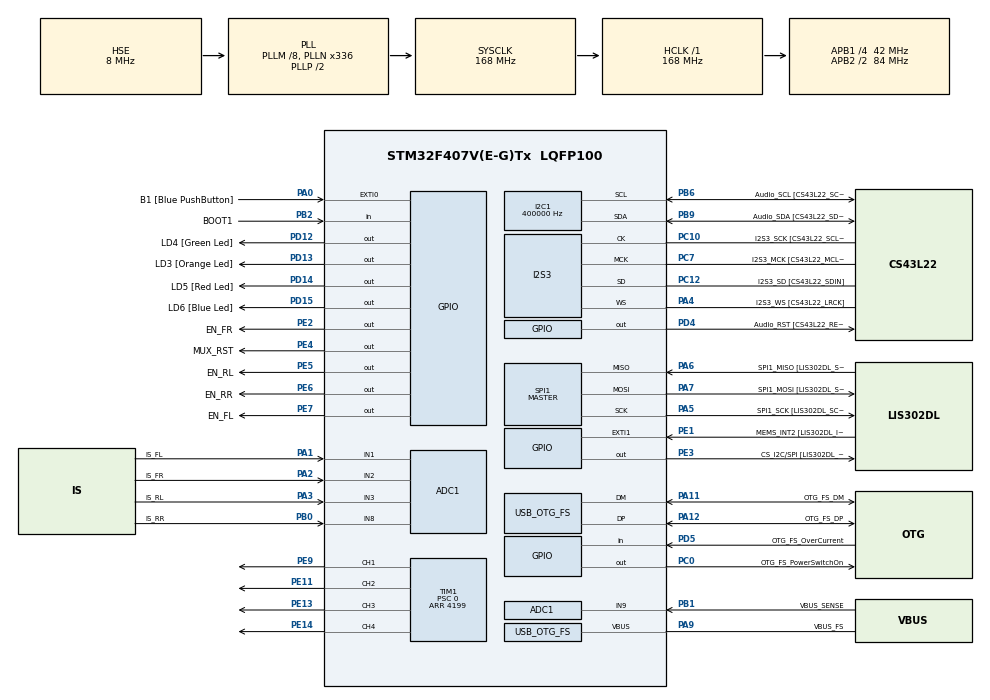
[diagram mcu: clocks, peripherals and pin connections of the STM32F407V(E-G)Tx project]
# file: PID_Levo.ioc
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ADC1.Channel-5\#ChannelRegularConversion=ADC_CHANNEL_1
ADC1.Channel-6\#ChannelRegularConversion=ADC_CHANNEL_2
ADC1.Channel-7\#ChannelRegularConversion=ADC_CHANNEL_3
ADC1.Channel-8\#ChannelRegularConversion=ADC_CHANNEL_8
ADC1.Channel-9\#ChannelRegularConversion=ADC_CHANNEL_9
ADC1.ContinuousConvMode=DISABLE
ADC1.DMAContinuousRequests=ENABLE
ADC1.ExternalTrigConv=ADC_EXTERNALTRIGCONV_T2_TRGO
ADC1.NbrOfConversion=5
ADC1.NbrOfConversionFlag=1
ADC1.Rank-5\#ChannelRegularConversion=1
ADC1.Rank-6\#ChannelRegularConversion=2
ADC1.Rank-7\#ChannelRegularConversion=3
ADC1.Rank-8\#ChannelRegularConversion=4
ADC1.Rank-9\#ChannelRegularConversion=5
ADC1.SamplingTime-5\#ChannelRegularConversion=ADC_SAMPLETIME_28CYCLES
ADC1.SamplingTime-6\#ChannelRegularConversion=ADC_SAMPLETIME_28CYCLES
ADC1.SamplingTime-7\#ChannelRegularConversion=ADC_SAMPLETIME_28CYCLES
ADC1.SamplingTime-8\#ChannelRegularConversion=ADC_SAMPLETIME_28CYCLES
ADC1.SamplingTime-9\#ChannelRegularConversion=ADC_SAMPLETIME_28CYCLES
ADC1.ScanConvMode=ENABLE
ADC1.master=1
Dma.ADC1.0.Direction=DMA_PERIPH_TO_MEMORY
Dma.ADC1.0.FIFOMode=DMA_FIFOMODE_DISABLE
Dma.ADC1.0.Instance=DMA2_Stream0
Dma.ADC1.0.MemDataAlignment=DMA_MDATAALIGN_HALFWORD
Dma.ADC1.0.MemInc=DMA_MINC_ENABLE
Dma.ADC1.0.Mode=DMA_CIRCULAR
Dma.ADC1.0.PeriphDataAlignment=DMA_PDATAALIGN_HALFWORD
Dma.ADC1.0.PeriphInc=DMA_PINC_DISABLE
Dma.ADC1.0.Priority=DMA_PRIORITY_HIGH
Dma.Request0=ADC1
I2C1.ClockSpeed=400000
I2S3.AudioFreq-Half_Duplex_Master=I2S_AUDIOFREQ_96K
I2S3.ErrorAudioFreq=-2.34 %
I2S3.ErrorAudioFreq-Half_Duplex_Master=0.8 %
I2S3.FullDuplexMode=I2S_FULLDUPLEXMODE_DISABLE
I2S3.Instance=SPI$Index
I2S3.RealAudioFreq=93.75 KHz
I2S3.RealAudioFreq-Half_Duplex_Master=96.774 KHz
I2S3.VirtualMode=I2S_MODE_MASTER
Mcu.Family=STM32F4
Mcu.Name=STM32F407V(E-G)Tx
Mcu.Package=LQFP100
NVIC.DMA2_Stream0_IRQn=true\:0\:0\:false\:false\:true\:false\:false\:true
NVIC.OTG_FS_IRQn=true\:0\:0\:false\:false\:true\:true\:true\:true
NVIC.PriorityGroup=NVIC_PRIORITYGROUP_0
PA0-WKUP.GPIO_Label=B1 [Blue PushButton]
PA0-WKUP.GPIO_ModeDefaultEXTI=GPIO_MODE_EVT_RISING
PA0-WKUP.GPIO_PuPd=GPIO_NOPULL
PA0-WKUP.Signal=GPXTI0
PA1.GPIO_Label=IS_FL
PA1.Signal=ADCx_IN1
PA10.GPIO_Label=OTG_FS_ID
PA10.GPIO_Mode=GPIO_MODE_AF_PP
PA10.GPIO_PuPd=GPIO_NOPULL
PA10.GPIO_Speed=GPIO_SPEED_FREQ_LOW
PA10.Signal=USB_OTG_FS_ID
PA11.GPIO_Label=OTG_FS_DM
PA11.GPIO_Mode=GPIO_MODE_AF_PP
PA11.GPIO_PuPd=GPIO_NOPULL
PA11.GPIO_Speed=GPIO_SPEED_FREQ_LOW
PA11.Mode=Host_Only
PA11.Signal=USB_OTG_FS_DM
PA12.GPIO_Label=OTG_FS_DP
PA12.GPIO_Mode=GPIO_MODE_AF_PP
PA12.GPIO_PuPd=GPIO_NOPULL
PA12.GPIO_Speed=GPIO_SPEED_FREQ_LOW
PA12.Mode=Host_Only
PA12.Signal=USB_OTG_FS_DP
PA13.GPIO_Label=SWDIO
PA13.Mode=Serial_Wire
PA13.Signal=SYS_JTMS-SWDIO
PA14.GPIO_Label=SWCLK
PA14.Mode=Serial_Wire
PA14.Signal=SYS_JTCK-SWCLK
PA2.GPIO_Label=IS_FR
PA2.Signal=ADCx_IN2
PA3.GPIO_Label=IS_RL
PA3.Signal=ADCx_IN3
PA4.GPIO_Label=I2S3_WS [CS43L22_LRCK]
PA4.GPIO_Mode=GPIO_MODE_AF_PP
PA4.GPIO_PuPd=GPIO_NOPULL
PA4.GPIO_Speed=GPIO_SPEED_FREQ_LOW
PA4.Mode=Half_Duplex_Master
PA4.Signal=I2S3_WS
PA5.GPIO_Label=SPI1_SCK [LIS302DL_SCL/SPC]
PA5.GPIO_Mode=GPIO_MODE_AF_PP
PA5.GPIO_PuPd=GPIO_NOPULL
PA5.GPIO_Speed=GPIO_SPEED_FREQ_LOW
PA5.Mode=Full_Duplex_Master
PA5.Signal=SPI1_SCK
PA6.GPIO_Label=SPI1_MISO [LIS302DL_SDO]
PA6.GPIO_Mode=GPIO_MODE_AF_PP
PA6.GPIO_PuPd=GPIO_NOPULL
PA6.GPIO_Speed=GPIO_SPEED_FREQ_LOW
PA6.Mode=Full_Duplex_Master
PA6.Signal=SPI1_MISO
PA7.GPIO_Label=SPI1_MOSI [LIS302DL_SDA/SDI/SDO]
PA7.GPIO_Mode=GPIO_MODE_AF_PP
PA7.GPIO_PuPd=GPIO_NOPULL
PA7.GPIO_Speed=GPIO_SPEED_FREQ_LOW
PA7.Mode=Full_Duplex_Master
PA7.Signal=SPI1_MOSI
PA9.GPIO_Label=VBUS_FS
PA9.GPIO_Mode=GPIO_MODE_INPUT
PA9.GPIO_PuPd=GPIO_NOPULL
PA9.Mode=Activate_VBUS
PA9.Signal=USB_OTG_FS_VBUS
PB0.GPIO_Label=IS_RR
PB0.Signal=ADCx_IN8
PB1.GPIO_Label=VBUS_SENSE
PB1.Signal=ADCx_IN9
PB10.GPIO_Label=CLK_IN [MP45DT02_CLK]
PB10.GPIO_Mode=GPIO_MODE_AF_PP
PB10.GPIO_PuPd=GPIO_NOPULL
PB10.GPIO_Speed=GPIO_SPEED_FREQ_LOW
PB10.Signal=I2S2_CK
PB2.GPIO_Label=BOOT1
PB2.GPIO_Mode=GPIO_MODE_INPUT
PB2.GPIO_PuPd=GPIO_NOPULL
PB2.Signal=GPIO_Input
PB3.GPIO_Label=SWO
PB3.Signal=SYS_JTDO-SWO
PB6.GPIO_Label=Audio_SCL [CS43L22_SCL]
PB6.GPIO_Mode=GPIO_MODE_AF_OD
PB6.GPIO_Pu=GPIO_PULLUP
PB6.GPIO_PuPd=GPIO_NOPULL
PB6.GPIO_Speed=GPIO_SPEED_FREQ_LOW
PB6.Mode=I2C
PB6.Signal=I2C1_SCL
PB9.GPIO_Label=Audio_SDA [CS43L22_SDA]
PB9.GPIO_Mode=GPIO_MODE_AF_OD
PB9.GPIO_Pu=GPIO_PULLUP
PB9.GPIO_PuPd=GPIO_NOPULL
PB9.GPIO_Speed=GPIO_SPEED_FREQ_LOW
PB9.Mode=I2C
PB9.Signal=I2C1_SDA
PC0.GPIO_Label=OTG_FS_PowerSwitchOn
PC0.GPIO_PuPd=GPIO_NOPULL
PC0.GPIO_Speed=GPIO_SPEED_FREQ_LOW
PC0.PinState=GPIO_PIN_SET
PC0.Signal=GPIO_Output
PC10.GPIO_Label=I2S3_SCK [CS43L22_SCLK]
PC10.GPIO_Mode=GPIO_MODE_AF_PP
PC10.GPIO_PuPd=GPIO_NOPULL
PC10.GPIO_Speed=GPIO_SPEED_FREQ_LOW
PC10.Mode=Half_Duplex_Master
PC10.Signal=I2S3_CK
PC12.GPIO_Label=I2S3_SD [CS43L22_SDIN]
PC12.GPIO_Mode=GPIO_MODE_AF_PP
PC12.GPIO_PuPd=GPIO_NOPULL
PC12.GPIO_Speed=GPIO_SPEED_FREQ_LOW
PC12.Mode=Half_Duplex_Master
PC12.Signal=I2S3_SD
PC14-OSC32_IN.GPIO_Label=PC14-OSC32_IN
PC14-OSC32_IN.Mode=LSE-External-Oscillator
PC14-OSC32_IN.Signal=RCC_OSC32_IN
PC15-OSC32_OUT.GPIO_Label=PC15-OSC32_OUT
PC15-OSC32_OUT.Mode=LSE-External-Oscillator
PC15-OSC32_OUT.Signal=RCC_OSC32_OUT
PC3.GPIO_Label=PDM_OUT [MP45DT02_DOUT]
PC3.GPIO_Mode=GPIO_MODE_AF_PP
PC3.GPIO_PuPd=GPIO_NOPULL
PC3.GPIO_Speed=GPIO_SPEED_FREQ_LOW
PC3.Signal=I2S2_SD
PC7.GPIO_Label=I2S3_MCK [CS43L22_MCLK]
PC7.GPIO_Mode=GPIO_MODE_AF_PP
PC7.GPIO_PuPd=GPIO_NOPULL
PC7.GPIO_Speed=GPIO_SPEED_FREQ_LOW
PC7.Mode=Master_Clock_Activated
PC7.Signal=I2S3_MCK
PD12.GPIO_Label=LD4 [Green Led]
PD12.GPIO_PuPd=GPIO_NOPULL
PD12.GPIO_Speed=GPIO_SPEED_FREQ_LOW
PD12.Signal=GPIO_Output
PD13.GPIO_Label=LD3 [Orange Led]
PD13.GPIO_PuPd=GPIO_NOPULL
PD13.GPIO_Speed=GPIO_SPEED_FREQ_LOW
PD13.Signal=GPIO_Output
PD14.GPIO_Label=LD5 [Red Led]
PD14.GPIO_PuPd=GPIO_NOPULL
PD14.GPIO_Speed=GPIO_SPEED_FREQ_LOW
PD14.Signal=GPIO_Output
PD15.GPIO_Label=LD6 [Blue Led]
PD15.GPIO_PuPd=GPIO_NOPULL
PD15.GPIO_Speed=GPIO_SPEED_FREQ_LOW
PD15.Signal=GPIO_Output
PD4.GPIO_Label=Audio_RST [CS43L22_RESET]
PD4.GPIO_PuPd=GPIO_NOPULL
PD4.GPIO_Speed=GPIO_SPEED_FREQ_LOW
PD4.Signal=GPIO_Output
PD5.GPIO_Label=OTG_FS_OverCurrent
PD5.GPIO_Mode=GPIO_MODE_INPUT
PD5.GPIO_PuPd=GPIO_NOPULL
PD5.Signal=GPIO_Input
PE1.GPIO_Label=MEMS_INT2 [LIS302DL_INT2]
PE1.GPIO_ModeDefaultEXTI=GPIO_MODE_EVT_RISING
PE1.GPIO_PuPd=GPIO_NOPULL
PE1.Signal=GPXTI1
PE11.Signal=S_TIM1_CH2
PE13.Signal=S_TIM1_CH3
PE14.Signal=S_TIM1_CH4
PE2.GPIO_Label=EN_FR
PE2.GPIO_PuPd=GPIO_PULLDOWN
PE2.GPIO_Speed=GPIO_SPEED_FREQ_LOW
PE2.PinState=GPIO_PIN_RESET
PE2.Signal=GPIO_Output
PE3.GPIO_Label=CS_I2C/SPI [LIS302DL_CS_I2C/SPI]
PE3.GPIO_PuPd=GPIO_NOPULL
PE3.GPIO_Speed=GPIO_SPEED_FREQ_LOW
PE3.Signal=GPIO_Output
PE4.GPIO_Label=MUX_RST
PE4.GPIO_PuPd=GPIO_NOPULL
PE4.GPIO_Speed=GPIO_SPEED_FREQ_LOW
PE4.PinState=GPIO_PIN_SET
PE4.Signal=GPIO_Output
PE5.GPIO_Label=EN_RL
PE5.GPIO_PuPd=GPIO_PULLDOWN
PE5.GPIO_Speed=GPIO_SPEED_FREQ_LOW
PE5.PinState=GPIO_PIN_RESET
PE5.Signal=GPIO_Output
PE6.GPIO_Label=EN_RR
PE6.GPIO_PuPd=GPIO_PULLDOWN
PE6.GPIO_Speed=GPIO_SPEED_FREQ_LOW
PE6.PinState=GPIO_PIN_RESET
PE6.Signal=GPIO_Output
PE7.GPIO_Label=EN_FL
PE7.GPIO_PuPd=GPIO_PULLDOWN
PE7.GPIO_Speed=GPIO_SPEED_FREQ_LOW
PE7.PinState=GPIO_PIN_RESET
PE7.Signal=GPIO_Output
PE9.Signal=S_TIM1_CH1
PH0-OSC_IN.GPIO_Label=PH0-OSC_IN
PH0-OSC_IN.Mode=HSE-External-Oscillator
PH0-OSC_IN.Signal=RCC_OSC_IN
PH1-OSC_OUT.GPIO_Label=PH1-OSC_OUT
PH1-OSC_OUT.Mode=HSE-External-Oscillator
PH1-OSC_OUT.Signal=RCC_OSC_OUT
ProjectManager.HeapSize=0x200
ProjectManager.StackSize=0x400
ProjectManager.TargetToolchain=STM32CubeIDE
RCC.48MHZClocksFreq_Value=48000000
RCC.AHBFreq_Value=168000000
RCC.APB1CLKDivider=RCC_HCLK_DIV4
RCC.APB1Freq_Value=42000000
RCC.APB1TimFreq_Value=84000000
RCC.APB2CLKDivider=RCC_HCLK_DIV2
RCC.APB2Freq_Value=84000000
RCC.APB2TimFreq_Value=168000000
RCC.CortexFreq_Value=168000000
RCC.HCLKFreq_Value=168000000
RCC.HSE_VALUE=8000000
RCC.HSI_VALUE=16000000
RCC.PLLM=8
RCC.PLLN=336
RCC.PLLQ=7
RCC.SYSCLKFreq_VALUE=168000000
RCC.SYSCLKSource=RCC_SYSCLKSOURCE_PLLCLK
RCC.VCOOutputFreq_Value=336000000
SH.ADCx_IN1.0=ADC1_IN1,IN1
SH.ADCx_IN2.0=ADC1_IN2,IN2
SH.ADCx_IN3.0=ADC1_IN3,IN3
SH.ADCx_IN8.0=ADC1_IN8,IN8
SH.ADCx_IN9.0=ADC1_IN9,IN9
SH.S_TIM1_CH1.0=TIM1_CH1,PWM Generation1 CH1
SH.S_TIM1_CH2.0=TIM1_CH2,PWM Generation2 CH2
SH.S_TIM1_CH3.0=TIM1_CH3,PWM Generation3 CH3
SH.S_TIM1_CH4.0=TIM1_CH4,PWM Generation4 CH4
SPI1.BaudRatePrescaler-Full_Duplex_Master=SPI_BAUDRATEPRESCALER_2
SPI1.CalculateBaudRate-Full_Duplex_Master=42.0 MBits/s
SPI1.Direction=SPI_DIRECTION_2LINES
SPI1.Mode=SPI_MODE_MASTER
SPI1.Mode-Full_Duplex_Master=SPI_MODE_MASTER
SPI1.VirtualType=VM_MASTER
TIM1.AutoReloadPreload=TIM_AUTORELOAD_PRELOAD_ENABLE
TIM1.Channel-PWM\ Generation1\ CH1=TIM_CHANNEL_1
TIM1.Channel-PWM\ Generation2\ CH2=TIM_CHANNEL_2
TIM1.Channel-PWM\ Generation3\ CH3=TIM_CHANNEL_3
TIM1.Channel-PWM\ Generation4\ CH4=TIM_CHANNEL_4
TIM1.CounterMode=TIM_COUNTERMODE_CENTERALIGNED1
TIM1.Period=4199
TIM1.Prescaler=0
TIM1.TIM_MasterOutputTrigger=TIM_TRGO_UPDATE
TIM2.Period=2099
TIM2.TIM_MasterOutputTrigger=TIM_TRGO_UPDATE
USB_HOST.BSP.number=1
USB_HOST.USBH_HandleTypeDef-CDC_FS=hUsbHostFS
USB_HOST.VirtualModeFS=Cdc
USB_HOST0.BSP.STBoard=false
USB_HOST0.BSP.api=Unknown
USB_HOST0.BSP.instance=PC0
USB_HOST0.BSP.ip=GPIO
USB_HOST0.BSP.mode=Output
USB_HOST0.BSP.name=Drive_VBUS_FS
USB_HOST0.BSP.solution=PC0
USB_OTG_FS.VirtualMode=Host_Only
USB_OTG_FS.phy_itface=HCD_PHY_EMBEDDED
VP_TIM1_VS_ClockSourceINT.Mode=Internal
VP_TIM2_VS_ClockSourceINT.Mode=Internal
VP_USB_HOST_VS_USB_HOST_CDC_FS.Mode=CDC_FS
board=STM32F407G-DISC1

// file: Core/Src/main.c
/* USER CODE BEGIN Header */
/**
  ******************************************************************************
  * @file           : main.c
  * @brief          : Main program body
  ******************************************************************************
  * @attention
  *
  * Copyright (c) 2026 STMicroelectronics.
  * All rights reserved.
  *
  * This software is licensed under terms that can be found in the LICENSE file
  * in the root directory of this software component.
  * If no LICENSE file comes with this software, it is provided AS-IS.
  *
  ******************************************************************************
  */
/* USER CODE END Header */
#include "main.h"
#include "usb_host.h"

/* USER CODE BEGIN Includes */
#include "app_config.h"
#include "i2c_bus.h"
#include "tca9548a.h"
#include "vl6180x.h"
#include "coil_test.h"
#include "bts7960.h"
#include "current_sense.h"
#include "state_machine.h"
#include "gap_sensor.h"
#include "estimator.h"
#include <math.h>
/* USER CODE END Includes */

ADC_HandleTypeDef hadc1;
DMA_HandleTypeDef hdma_adc1;

I2C_HandleTypeDef hi2c1;

I2S_HandleTypeDef hi2s3;

SPI_HandleTypeDef hspi1;

TIM_HandleTypeDef htim1;
TIM_HandleTypeDef htim2;

/* USER CODE BEGIN PV */

/* ---- Asama 3: guc katmani ve emniyet (Live Expressions icin) ---- */
volatile uint8_t  g_levitate_req = 0;   /* 1 yazilinca kalkis denenir      */
volatile uint8_t  g_sm_state     = 0;   /* sm_state_t                      */
volatile uint32_t g_sm_faults    = 0;   /* SM_F_* bit maskesi              */
volatile float    g_coil_i_a[BTS_CH_COUNT];
volatile float    g_duty[BTS_CH_COUNT];
volatile float    g_vbus_v       = 0.0f;
volatile float    g_power_w      = 0.0f;
volatile float    g_peak_i_a     = 0.0f;  /* kalkis zirvesi (sartname 3.q) */
volatile float    g_peak_p_w     = 0.0f;
volatile uint8_t  g_drv_init_err = 0;

/* ---- Asama 2: 4 kanalli hava araligi + kestirim (Live Expressions) ---- */
volatile uint8_t  g_gap_found   = 0;   /* acilista bulunan sensor sayisi   */
volatile uint8_t  g_gap_valid_n = 0;   /* su an gecerli olan kanal sayisi  */
volatile uint8_t  g_gap_present[GAP_CH_COUNT];
volatile uint8_t  g_gap_fault[GAP_CH_COUNT];
volatile uint8_t  g_gap_raw[GAP_CH_COUNT];   /* ham okuma [mm]             */
volatile float    g_gap_ch[GAP_CH_COUNT];    /* kalibre hava araligi [mm]  */
volatile uint16_t g_gap_hz[GAP_CH_COUNT];
volatile uint8_t  g_gap_status[GAP_CH_COUNT];

volatile uint8_t  g_est_valid    = 0;
volatile uint8_t  g_est_n_used   = 0;
volatile float    g_heave_mm     = 0.0f;
volatile float    g_roll_mrad    = 0.0f;   /* milirad, okunakli olsun diye */
volatile float    g_pitch_mrad   = 0.0f;
volatile float    g_est_resid_mm = 0.0f;

/* ===== Asama 1 teshis degiskenleri =====================================
   Bunlar CubeIDE'de Debug -> Live Expressions penceresine eklenerek
   canli izlenir. volatile olmalari, derleyicinin optimize edip yok
   etmesini onler.                                                      */
volatile uint8_t  g_range_mm       = 0;     /* sensorun ham olcumu [mm]      */
volatile float    g_gap_mm         = 0.0f;  /* hava araligi = ham - offset   */
volatile uint8_t  g_range_status   = 0;     /* 0 = OK, digerleri hata kodu   */
volatile uint32_t g_ok_count       = 0;     /* hatasiz ornek sayisi          */
volatile uint32_t g_i2c_err_count  = 0;     /* I2C seviyesi hata sayisi      */
volatile uint32_t g_sample_hz      = 0;     /* olculen gercek ornekleme hizi */
volatile uint8_t  g_sensor_present = 0;     /* 1 = sensor bulundu            */

/* I2C tarama sonuclari -- ilk teshis adimi:
     g_scan_root[] icinde 0x70 (coklayici) gorulmelidir.
     g_scan_ch0[]  icinde 0x29 (VL6180X)  gorulmelidir.
   0x29 yoksa sorun sensor kablolamasinda ya da beslemesindedir.        */
volatile uint8_t  g_scan_root[8];
volatile uint8_t  g_scan_root_n = 0;
volatile uint8_t  g_scan_ch0[8];
volatile uint8_t  g_scan_ch0_n  = 0;

/* Sensor durumu (sample_count, io_err_count, status_err_count alanlari
   da Live Expressions'ta izlenebilir). */
vl6180x_t g_tof0;

/* ===== Teshis: sensorun kendi registerlarindan geri okunan degerler =====
   Yazdigimiz ayarlar sensore gercekten islendi mi, ve sensor ne
   raporluyor? Surekli mod ornek uretmezse cevap burada.                 */
volatile uint8_t g_dbg_mode_gpio1 = 0xAA;  /* 0x011, beklenen 0x10 */
volatile uint8_t g_dbg_int_cfg    = 0xAA;  /* 0x014, beklenen 0x04 */
volatile uint8_t g_dbg_imp        = 0xAA;  /* 0x01B, olcumler arasi periyot */
volatile uint8_t g_dbg_maxconv    = 0xAA;  /* 0x01C, maks yakinsama suresi  */
volatile uint8_t g_dbg_avg        = 0xAA;  /* 0x10A, ortalama periyodu      */
volatile uint8_t g_dbg_start      = 0xAA;  /* 0x018, beklenen 0x03          */
volatile uint8_t g_dbg_irq_raw    = 0xAA;  /* 0x04F, ham kesme durumu       */
volatile uint8_t g_dbg_rs_raw     = 0xAA;  /* 0x04D, ham menzil durumu      */

/* Tek atimlik (blokleyici) olcum: sensor hic olcum yapabiliyor mu?
   Bu, surekli moddan bagimsiz bir kanittir. */
volatile uint8_t g_single_mm     = 0;
volatile int8_t  g_single_ret    = -1;     /* 0 = HAL_OK */
volatile uint8_t g_single_status = 0xAA;

/* ===== Ornekleme hizi taramasi =====
   Acilista ortalama periyodu (AVG) ve olcumler arasi periyot (IMP)
   kombinasyonlari denenip her biri icin 500 ms'de kac ornek geldigi
   olculur. En hizli ve hatasiz kombinasyon secilerek calisilir.       */
/* Gurultu-hiz takasi taramasi: ortalama periyodu (AVG) ve maksimum
   yakinsama suresi (CONV) kombinasyonlari icin 1 saniyede kac ornek
   geldigi ve o orneklerin dagilimi olculur. Olcumler arasi periyot
   10 ms'de sabit -- sensor zaten olcum suresiyle sinirli.            */
#define SWEEP_N 8
volatile uint8_t  g_sweep_avg[SWEEP_N];
volatile uint8_t  g_sweep_conv[SWEEP_N];
volatile uint16_t g_sweep_hz[SWEEP_N];        /* 1 s icindeki ornek = Hz */
volatile uint16_t g_sweep_err[SWEEP_N];       /* olcum hatasi sayisi     */
volatile uint8_t  g_sweep_min[SWEEP_N];
volatile uint8_t  g_sweep_max[SWEEP_N];
volatile uint8_t  g_sweep_pp[SWEEP_N];        /* tepe-tepe [mm]          */
volatile float    g_sweep_mean[SWEEP_N];
volatile float    g_sweep_std[SWEEP_N];       /* sigma [mm]              */
volatile uint8_t  g_sweep_done = 0;
volatile uint8_t  g_best_idx   = 0xFF;
volatile uint16_t g_best_hz    = 0;

/* ===== Yazilim filtresi karsilastirmasi =====
   Ayni ornek akisi uzerinde es zamanli calisan filtreler:
     0 = ham, 1 = 4-ornek ortalama, 2 = 8-ornek, 3 = 16-ornek, 4 = 5-medyan
   Her biri icin 3 saniyelik pencerede sigma ve tepe-tepe olculur. Gecikme
   bedeli: N-ornek ortalama ~ (N-1)/2 ornek = 100 Hz'de (N-1)*5 ms.        */
#define FILT_N 5
volatile float    g_filt_mean[FILT_N];
volatile float    g_filt_std[FILT_N];
volatile float    g_filt_pp[FILT_N];
volatile uint16_t g_filt_n = 0;

/* ===== Gurultu istatistigi =====
   Her 2 saniyelik pencerede hatasiz orneklerin min/maks/ortalama/standart
   sapmasi. g_stat_pp (tepe-tepe bandi), ToF'un levitasyon icin yeterli olup
   olmadigini soyleyecek kritik sayidir. */
volatile uint8_t  g_stat_min  = 0;
volatile uint8_t  g_stat_max  = 0;
volatile uint8_t  g_stat_pp   = 0;    /* tepe-tepe [mm] */
volatile float    g_stat_mean = 0.0f;
volatile float    g_stat_std  = 0.0f;
volatile uint16_t g_stat_n    = 0;    /* penceredeki ornek sayisi */

/* ===== Bobin karakterizasyon testi tetikleri =====
   Test MIKNATISI ENERJILENDIRIR, bu yuzden kazara calismaz:
     - acilista mavi butonu (B1) basili tutarak reset  -> calisir
     - ya da hata ayiklayicidan g_coil_arm = 0xA5      -> bir kez calisir
   Baska hicbir kosulda cikis surulmez.                              */
volatile uint8_t g_coil_arm      = 0;
volatile uint8_t g_coil_run_count = 0;

/* ToF hiz/gurultu taramasi artik her acilista calismiyor (10 s suruyordu);
   olculen en iyi ayar dogrudan uygulaniyor. Tekrar taramak icin
   hata ayiklayicidan g_tof_do_sweep = 1 yapip reset atin.            */
volatile uint8_t g_tof_do_sweep = 0;

/* USER CODE END PV */

void SystemClock_Config(void);
static void MX_GPIO_Init(void);
static void MX_DMA_Init(void);
static void MX_I2C1_Init(void);
static void MX_I2S3_Init(void);
static void MX_SPI1_Init(void);
static void MX_ADC1_Init(void);
static void MX_TIM1_Init(void);
static void MX_TIM2_Init(void);
void MX_USB_HOST_Process(void);

/* USER CODE BEGIN 0 */

/* ===== ToF karakterizasyon yardimcilari =====
   Bu fonksiyonlar sensorun hiz/gurultu/filtre davranisini olcmek icin
   yazildi ve sonuclari ozet.md'ye islendi. Normal calismada gerekmiyor,
   ama olcumu tekrarlamak gerekirse asagidaki satiri 1 yapmak yeterli.
   Derleme disi birakiliyor ki 'kullanilmiyor' uyarisi uretmesinler. */
#define TOF_CHARACTERIZATION  0
#if TOF_CHARACTERIZATION
/* Ortalama periyodu ve olcumler arasi periyot kombinasyonlarini deneyip
   en hizli hatasiz olani secer. Cagrilmadan once mux kanali acik olmalidir. */
static void TOF_ApplyConfig(uint8_t avg, uint8_t conv)
{
  (void)VL6180X_StopContinuous(&g_tof0);
  HAL_Delay(60);
  (void)VL6180X_WriteReg(0x010A, avg);      /* READOUT__AVERAGING_SAMPLE_PERIOD */
  (void)VL6180X_WriteReg(0x001C, conv);     /* SYSRANGE__MAX_CONVERGENCE_TIME   */
  (void)VL6180X_WriteReg(0x0015, 0x07);     /* kesmeleri temizle                */
  (void)VL6180X_StartContinuous(&g_tof0, 10);
}

/* ---- Yazilim filtresi karsilastirmasi ---- */
static uint8_t  s_rb[16];
static uint8_t  s_rb_i = 0, s_rb_cnt = 0;
static float    s_acc_sum[FILT_N], s_acc_sq[FILT_N];
static float    s_acc_min[FILT_N], s_acc_max[FILT_N];
static uint16_t s_acc_n = 0;

static float Filt_MovAvg(uint8_t n)
{
  uint32_t s = 0;
  for (uint8_t k = 0; k < n; k++)
  {
    s += s_rb[(uint8_t)((s_rb_i + 16U - 1U - k) & 0x0FU)];
  }
  return (float)s / (float)n;
}

static float Filt_Median5(void)
{
  uint8_t v[5];
  for (uint8_t k = 0; k < 5U; k++)
  {
    v[k] = s_rb[(uint8_t)((s_rb_i + 16U - 1U - k) & 0x0FU)];
  }
  for (uint8_t i = 0; i < 4U; i++)
  {
    for (uint8_t j = (uint8_t)(i + 1U); j < 5U; j++)
    {
      if (v[j] < v[i]) { uint8_t t = v[i]; v[i] = v[j]; v[j] = t; }
    }
  }
  return (float)v[2];
}

static void Filt_Push(uint8_t val)
{
  s_rb[s_rb_i] = val;
  s_rb_i = (uint8_t)((s_rb_i + 1U) & 0x0FU);
  if (s_rb_cnt < 16U) { s_rb_cnt++; return; }   /* tampon dolana kadar sayma */

  float f[FILT_N];
  f[0] = (float)val;
  f[1] = Filt_MovAvg(4);
  f[2] = Filt_MovAvg(8);
  f[3] = Filt_MovAvg(16);
  f[4] = Filt_Median5();

  for (uint8_t i = 0; i < FILT_N; i++)
  {
    if (s_acc_n == 0U) { s_acc_min[i] = f[i]; s_acc_max[i] = f[i]; }
    else
    {
      if (f[i] < s_acc_min[i]) { s_acc_min[i] = f[i]; }
      if (f[i] > s_acc_max[i]) { s_acc_max[i] = f[i]; }
    }
    s_acc_sum[i] += f[i];
    s_acc_sq[i]  += f[i] * f[i];
  }
  s_acc_n++;
}

static void Filt_Publish(void)
{
  if (s_acc_n < 2U) { return; }

  for (uint8_t i = 0; i < FILT_N; i++)
  {
    float mean = s_acc_sum[i] / (float)s_acc_n;
    float var  = (s_acc_sq[i] / (float)s_acc_n) - (mean * mean);
    if (var < 0.0f) { var = 0.0f; }

    g_filt_mean[i] = mean;
    g_filt_std[i]  = sqrtf(var);
    g_filt_pp[i]   = s_acc_max[i] - s_acc_min[i];

    s_acc_sum[i] = 0.0f;
    s_acc_sq[i]  = 0.0f;
  }
  g_filt_n = s_acc_n;
  s_acc_n  = 0;
}

/* Her kombinasyon icin 1 saniye olcum toplar; hiz ve dagilimi kaydeder. */
static void TOF_NoiseSweep(void)
{
  static const uint8_t avgs[4]  = { 0x18U, 0x30U, 0x60U, 0xA0U };
  static const uint8_t convs[2] = { 0x0AU, 0x31U };   /* 10 ms / 49 ms */
  uint8_t idx = 0;

  for (uint8_t a = 0; a < 4U; a++)
  {
    for (uint8_t c = 0; c < 2U; c++)
    {
      uint32_t t0, sum = 0, sumsq = 0;
      uint16_t cnt = 0, serr = 0;
      uint8_t  mn = 255, mx = 0;

      TOF_ApplyConfig(avgs[a], convs[c]);
      HAL_Delay(200);                        /* yerlesme */

      t0 = HAL_GetTick();
      while ((HAL_GetTick() - t0) < 1000U)
      {
        if (VL6180X_Poll(&g_tof0) == 1)
        {
          if (g_tof0.last_status != VL6180X_RS_NO_ERROR) { serr++; continue; }

          uint8_t v = g_tof0.last_range_mm;
          if (v < mn) { mn = v; }
          if (v > mx) { mx = v; }
          sum   += v;
          sumsq += (uint32_t)v * v;
          cnt++;
        }
      }

      g_sweep_avg[idx]  = avgs[a];
      g_sweep_conv[idx] = convs[c];
      g_sweep_hz[idx]   = cnt;
      g_sweep_err[idx]  = serr;

      if (cnt > 1U)
      {
        float mean = (float)sum / (float)cnt;
        float var  = ((float)sumsq / (float)cnt) - (mean * mean);
        if (var < 0.0f) { var = 0.0f; }

        g_sweep_min[idx]  = mn;
        g_sweep_max[idx]  = mx;
        g_sweep_pp[idx]   = (uint8_t)(mx - mn);
        g_sweep_mean[idx] = mean;
        g_sweep_std[idx]  = sqrtf(var);
      }
      idx++;
    }
  }
  g_sweep_done = idx;

  /* En yuksek hizi veren hatasiz kombinasyonu sec; esitlikte dusuk sigma.
     Yazilim filtresi karsilastirmasi en yuksek hizda yapilmali. */
  uint16_t best_hz  = 0;
  float    best_std = 1.0e9f;
  for (uint8_t i = 0; i < idx; i++)
  {
    if (g_sweep_err[i] != 0U) { continue; }
    if ((g_sweep_hz[i] > best_hz) ||
        ((g_sweep_hz[i] == best_hz) && (g_sweep_std[i] < best_std)))
    {
      best_hz    = g_sweep_hz[i];
      best_std   = g_sweep_std[i];
      g_best_idx = i;
    }
  }
  if (g_best_idx == 0xFFU) { g_best_idx = 1; }   /* hicbiri uymazsa varsayilan */

  g_best_hz = g_sweep_hz[g_best_idx];
  TOF_ApplyConfig(g_sweep_avg[g_best_idx], g_sweep_conv[g_best_idx]);
}

#endif /* TOF_CHARACTERIZATION */

/* USER CODE END 0 */

int main(void)
{

  /* MCU Configuration--------------------------------------------------------*/

  /* Reset of all peripherals, Initializes the Flash interface and the Systick. */
  HAL_Init();

  /* Configure the system clock */
  SystemClock_Config();

  /* Initialize all configured peripherals */
  MX_GPIO_Init();
  MX_DMA_Init();
  MX_I2C1_Init();
  MX_I2S3_Init();
  MX_SPI1_Init();
  MX_USB_HOST_Init();
  MX_ADC1_Init();
  MX_TIM1_Init();
  MX_TIM2_Init();
  /* USER CODE BEGIN 2 */

  /* ---- Asama 2: coklayici + 4 kanalli hava araligi olcumu ---- */

  /* Kart uzerindeki CS43L22 ses codec'i ayni I2C1 hattinda (adres 0x94).
     Reset'te tutulur ki hatta karismasin. */
  HAL_GPIO_WritePin(Audio_RST_GPIO_Port, Audio_RST_Pin, GPIO_PIN_RESET);

  I2CBus_Init();

  /* Coklayiciyi once reset darbesiyle bilinen duruma cek, sonra tara:
     tum kanallar kapaliyken kok hatta yalnizca 0x70 gorunmelidir. */
  TCA_Init();
  g_scan_root_n = I2CBus_Scan((uint8_t *)g_scan_root, sizeof(g_scan_root));

  g_gap_found = GapSensor_Init();
  EstimatorInit();

  /* Geriye donuk uyumluluk: kanal 0'in durumu eski degisken adlariyla da
     yayimlaniyor, boylece mevcut Live Expressions kurulumu bozulmuyor. */
  g_sensor_present = (uint8_t)(GapSensor_Get(GAP_CH_FL)->present);

  /* Kanal 0'da hangi cihazlar var (teshis) */
  if (TCA_SelectChannel(GAP_CH_FL) == HAL_OK)
  {
    g_scan_ch0_n = I2CBus_Scan((uint8_t *)g_scan_ch0, sizeof(g_scan_ch0));
  }

  /* ---- Bobin karakterizasyon testi ----
     CoilTest_Init() TIM1/TIM2/ADC1/DMA2'yi kendi olcum ayarlarina gore
     YENIDEN programlar (TIM2'yi 100 kHz'e ceker). Bu yuzden yalnizca test
     gercekten istendiginde cagrilir; her acilista cagrilmasi normal
     calismadaki ADC tetigini bozuyordu. Cikislar bu noktada zaten pasif:
     MX_GPIO_Init tum EN pinlerini LOW olarak kurdu ve donanimda pull-down
     var. LPWM girisleri kartta dogrudan GND'ye baglidir. */
  if ((HAL_GPIO_ReadPin(B1_GPIO_Port, B1_Pin) == GPIO_PIN_SET) ||
      (g_coil_arm == 0xA5U))
  {
    g_coil_arm = 0U;
    if (CoilTest_Init() == HAL_OK)
    {
      CoilTest_SafeOff();
      HAL_GPIO_WritePin(LD6_GPIO_Port, LD6_Pin, GPIO_PIN_SET); /* mavi: test */
      CoilTest_Run();
      g_coil_run_count++;
      HAL_GPIO_WritePin(LD6_GPIO_Port, LD6_Pin, GPIO_PIN_RESET);
    }
    /* Cevre birimlerini CubeMX yapilandirmasina geri dondur */
    MX_TIM1_Init();
    MX_TIM2_Init();
    MX_ADC1_Init();
  }

  /* ---- Asama 3: guc katmani + emniyet durum makinesi ----
     Bu noktaya kadar tum acilis teshisleri bitmis olmali: SM_Init()
     bagimsiz bekci kopegini baslatir ve bundan sonra ana dongu 250 ms'den
     uzun sure bloklanamaz. */
  if (BTS_Init() != HAL_OK) { g_drv_init_err |= 1U; }
  if (CS_Init()  != HAL_OK) { g_drv_init_err |= 2U; }

  /* Cikislar kapaliyken IS pinlerinin sifir noktasini olc (~200 ms) */
  CS_ZeroCalibrate();

  SM_Init();
  if (g_drv_init_err != 0U) { SM_LatchShutdown(SM_F_DRIVER_INIT); }

  /* USER CODE END 2 */

  /* Infinite loop */
  while (1)
  {
    MX_USB_HOST_Process();

    /* USER CODE BEGIN 3 */

    static uint32_t last_poll    = 0;
    static uint32_t last_hz_tick = 0;
    static uint32_t win_samples  = 0;

    /* gurultu istatistigi penceresi */
    static uint8_t  w_min = 255, w_max = 0;
    static uint32_t w_sum = 0, w_sumsq = 0;
    static uint16_t w_n = 0;
    static uint32_t last_stat_tick = 0;
    static uint32_t last_ok0       = 0;

    uint32_t now = HAL_GetTick();

    /* --- Asama 3: sabit periyotlu emniyet/kontrol gorevi ---
       ToF yoklamasindan ONCE cagriliyor ki I2C hattinda bir aksama olsa
       bile bekci kopegi beslenmeye ve cikislar denetlenmeye devam etsin. */
    static uint32_t last_ctrl = 0;
    if ((now - last_ctrl) >= CTRL_PERIOD_MS)
    {
      uint8_t k;
      last_ctrl = now;

      SM_RequestLevitate(g_levitate_req);
      SM_Task();

      g_sm_state  = (uint8_t)SM_GetState();
      g_sm_faults = SM_GetFaults();
      g_vbus_v    = CS_GetBusVoltage();
      g_power_w   = CS_GetPower();
      g_peak_i_a  = SM_GetPeakCurrent();
      g_peak_p_w  = SM_GetPeakPower();
      for (k = 0U; k < BTS_CH_COUNT; k++)
      {
        g_coil_i_a[k] = CS_GetCurrent(k);
        g_duty[k]     = BTS_GetDuty(k);
      }
    }

    /* --- Asama 2: hava araligi yoklamasi (round-robin) --- */
    if ((now - last_poll) >= GAP_POLL_STEP_MS)
    {
      uint8_t k;
      const est_state_t *e;

      last_poll = now;
      GapSensor_Task();
      Estimator_Update();

      for (k = 0U; k < GAP_CH_COUNT; k++)
      {
        const gap_ch_t *g = GapSensor_Get(k);
        g_gap_present[k] = g->present;
        g_gap_fault[k]   = g->fault;
        g_gap_raw[k]     = g->raw_mm;
        g_gap_ch[k]      = g->gap_med_mm;
        g_gap_hz[k]      = g->hz;
        g_gap_status[k]  = g->status;
      }
      g_gap_valid_n = GapSensor_ValidCount();

      e = Estimator_Get();
      g_est_valid    = e->valid;
      g_est_n_used   = e->n_used;
      g_heave_mm     = e->heave_mm;
      g_roll_mrad    = e->roll_rad  * 1000.0f;
      g_pitch_mrad   = e->pitch_rad * 1000.0f;
      g_est_resid_mm = e->residual_mm;

      /* Durum makinesi duzlem cozulebildigi surece merkez hava araligiyla
         beslenir. Cozulemiyorsa hic beslenmez ve SENSOR_TIMEOUT devreye
         girer -- sessizce eski degerle devam etmek tehlikeli olurdu. */
      if ((e->valid != 0U) && (e->n_used >= EST_MIN_CONTROL_SENSORS))
      {
        SM_ReportGap(e->heave_mm, 1U);
      }

      /* Kanal 0 aynalari (eski Live Expressions kurulumu icin) */
      {
        const gap_ch_t *g0 = GapSensor_Get(GAP_CH_FL);
        g_range_mm     = g0->raw_mm;
        g_range_status = g0->status;
        g_gap_mm       = g0->gap_mm;
        g_ok_count     = g0->samples;
        if (g0->samples != last_ok0)
        {
          last_ok0 = g0->samples;
          win_samples++;
          if (g0->status == VL6180X_RS_NO_ERROR)
          {
            /* 2 saniyelik gurultu istatistigi (yalnizca kanal 0) */
            if (g0->raw_mm < w_min) { w_min = g0->raw_mm; }
            if (g0->raw_mm > w_max) { w_max = g0->raw_mm; }
            w_sum   += g0->raw_mm;
            w_sumsq += (uint32_t)g0->raw_mm * g0->raw_mm;
            w_n++;
          }
          if ((g0->samples % 25U) == 0U)
          {
            HAL_GPIO_TogglePin(LD4_GPIO_Port, LD4_Pin);
          }
        }
      }

      /* LED durumu:
           yesil  = en az bir gecerli kanal, canlilik icin yanip soner
           turuncu= bulunan sensorlerden biri arizali (kismi calisma)
           kirmizi= hic gecerli olcum yok */
      if (g_gap_valid_n == 0U)
      {
        HAL_GPIO_WritePin(LD5_GPIO_Port, LD5_Pin, GPIO_PIN_SET);
        HAL_GPIO_WritePin(LD4_GPIO_Port, LD4_Pin, GPIO_PIN_RESET);
      }
      else
      {
        HAL_GPIO_WritePin(LD5_GPIO_Port, LD5_Pin, GPIO_PIN_RESET);
      }
      HAL_GPIO_WritePin(LD3_GPIO_Port, LD3_Pin,
                        (g_gap_valid_n < g_gap_found) ? GPIO_PIN_SET
                                                      : GPIO_PIN_RESET);
    }

    /* Saniyede bir gercek ornekleme hizini olc */
    if ((now - last_hz_tick) >= 1000U)
    {
      last_hz_tick = now;
      g_sample_hz  = win_samples;
      win_samples  = 0;
    }

    /* Iki saniyede bir gurultu istatistigini kapat ve yayinla */
    if ((now - last_stat_tick) >= 2000U)
    {
      last_stat_tick = now;

      if (w_n > 1U)
      {
        float mean = (float)w_sum / (float)w_n;
        float var  = ((float)w_sumsq / (float)w_n) - (mean * mean);
        if (var < 0.0f) { var = 0.0f; }

        g_stat_min  = w_min;
        g_stat_max  = w_max;
        g_stat_pp   = (uint8_t)(w_max - w_min);
        g_stat_mean = mean;
        g_stat_std  = sqrtf(var);
        g_stat_n    = w_n;
      }

      w_min = 255; w_max = 0; w_sum = 0; w_sumsq = 0; w_n = 0;
    }

    g_i2c_err_count = I2CBus_GetErrorCount();

    /* Hata ayiklayicidan tetiklenen bobin testi (g_coil_arm = 0xA5).
       Test cevre birimlerini kendi ayarlarina cekip geri birakir, bu yuzden
       once durum makinesinin cikis surmedigi dogrulanir. */
    if (g_coil_arm == 0xA5U)
    {
      sm_state_t st = SM_GetState();
      g_coil_arm = 0;
      if ((st == SM_IDLE) || (st == SM_FAULT) || (st == SM_SAFE_SHUTDOWN))
      {
        BTS_AllOff();
        if (CoilTest_Init() == HAL_OK)
        {
          CoilTest_SafeOff();
          HAL_GPIO_WritePin(LD6_GPIO_Port, LD6_Pin, GPIO_PIN_SET);
          CoilTest_Run();
          g_coil_run_count++;
          HAL_GPIO_WritePin(LD6_GPIO_Port, LD6_Pin, GPIO_PIN_RESET);
        }
        MX_TIM1_Init();
        MX_TIM2_Init();
        MX_ADC1_Init();
        (void)BTS_Init();
        (void)CS_Init();
      }
    }
  }
  /* USER CODE END 3 */
}

void SystemClock_Config(void)
{
  RCC_OscInitTypeDef RCC_OscInitStruct = {0};
  RCC_ClkInitTypeDef RCC_ClkInitStruct = {0};

  /** Configure the main internal regulator output voltage
  */
  __HAL_RCC_PWR_CLK_ENABLE();
  __HAL_PWR_VOLTAGESCALING_CONFIG(PWR_REGULATOR_VOLTAGE_SCALE1);

  /** Initializes the RCC Oscillators according to the specified parameters
  * in the RCC_OscInitTypeDef structure.
  */
  RCC_OscInitStruct.OscillatorType = RCC_OSCILLATORTYPE_HSE;
  RCC_OscInitStruct.HSEState = RCC_HSE_ON;
  RCC_OscInitStruct.PLL.PLLState = RCC_PLL_ON;
  RCC_OscInitStruct.PLL.PLLSource = RCC_PLLSOURCE_HSE;
  RCC_OscInitStruct.PLL.PLLM = 8;
  RCC_OscInitStruct.PLL.PLLN = 336;
  RCC_OscInitStruct.PLL.PLLP = RCC_PLLP_DIV2;
  RCC_OscInitStruct.PLL.PLLQ = 7;
  if (HAL_RCC_OscConfig(&RCC_OscInitStruct) != HAL_OK)
  {
    Error_Handler();
  }

  /** Initializes the CPU, AHB and APB buses clocks
  */
  RCC_ClkInitStruct.ClockType = RCC_CLOCKTYPE_HCLK|RCC_CLOCKTYPE_SYSCLK
                              |RCC_CLOCKTYPE_PCLK1|RCC_CLOCKTYPE_PCLK2;
  RCC_ClkInitStruct.SYSCLKSource = RCC_SYSCLKSOURCE_PLLCLK;
  RCC_ClkInitStruct.AHBCLKDivider = RCC_SYSCLK_DIV1;
  RCC_ClkInitStruct.APB1CLKDivider = RCC_HCLK_DIV4;
  RCC_ClkInitStruct.APB2CLKDivider = RCC_HCLK_DIV2;

  if (HAL_RCC_ClockConfig(&RCC_ClkInitStruct, FLASH_LATENCY_5) != HAL_OK)
  {
    Error_Handler();
  }
}

static void MX_ADC1_Init(void)
{

  ADC_ChannelConfTypeDef sConfig = {0};

  /** Configure the global features of the ADC (Clock, Resolution, Data Alignment and number of conversion)
  */
  hadc1.Instance = ADC1;
  hadc1.Init.ClockPrescaler = ADC_CLOCK_SYNC_PCLK_DIV4;
  hadc1.Init.Resolution = ADC_RESOLUTION_12B;
  hadc1.Init.ScanConvMode = ENABLE;
  hadc1.Init.ContinuousConvMode = DISABLE;
  hadc1.Init.DiscontinuousConvMode = DISABLE;
  hadc1.Init.ExternalTrigConvEdge = ADC_EXTERNALTRIGCONVEDGE_RISING;
  hadc1.Init.ExternalTrigConv = ADC_EXTERNALTRIGCONV_T2_TRGO;
  hadc1.Init.DataAlign = ADC_DATAALIGN_RIGHT;
  hadc1.Init.NbrOfConversion = 5;
  hadc1.Init.DMAContinuousRequests = ENABLE;
  hadc1.Init.EOCSelection = ADC_EOC_SINGLE_CONV;
  if (HAL_ADC_Init(&hadc1) != HAL_OK)
  {
    Error_Handler();
  }

  /** Configure for the selected ADC regular channel its corresponding rank in the sequencer and its sample time.
  */
  sConfig.Channel = ADC_CHANNEL_1;
  sConfig.Rank = 1;
  sConfig.SamplingTime = ADC_SAMPLETIME_28CYCLES;
  if (HAL_ADC_ConfigChannel(&hadc1, &sConfig) != HAL_OK)
  {
    Error_Handler();
  }

  /** Configure for the selected ADC regular channel its corresponding rank in the sequencer and its sample time.
  */
  sConfig.Channel = ADC_CHANNEL_2;
  sConfig.Rank = 2;
  if (HAL_ADC_ConfigChannel(&hadc1, &sConfig) != HAL_OK)
  {
    Error_Handler();
  }

  /** Configure for the selected ADC regular channel its corresponding rank in the sequencer and its sample time.
  */
  sConfig.Channel = ADC_CHANNEL_3;
  sConfig.Rank = 3;
  if (HAL_ADC_ConfigChannel(&hadc1, &sConfig) != HAL_OK)
  {
    Error_Handler();
  }

  /** Configure for the selected ADC regular channel its corresponding rank in the sequencer and its sample time.
  */
  sConfig.Channel = ADC_CHANNEL_8;
  sConfig.Rank = 4;
  if (HAL_ADC_ConfigChannel(&hadc1, &sConfig) != HAL_OK)
  {
    Error_Handler();
  }

  /** Configure for the selected ADC regular channel its corresponding rank in the sequencer and its sample time.
  */
  sConfig.Channel = ADC_CHANNEL_9;
  sConfig.Rank = 5;
  if (HAL_ADC_ConfigChannel(&hadc1, &sConfig) != HAL_OK)
  {
    Error_Handler();
  }

}

static void MX_I2C1_Init(void)
{

  hi2c1.Instance = I2C1;
  hi2c1.Init.ClockSpeed = 400000;
  hi2c1.Init.DutyCycle = I2C_DUTYCYCLE_2;
  hi2c1.Init.OwnAddress1 = 0;
  hi2c1.Init.AddressingMode = I2C_ADDRESSINGMODE_7BIT;
  hi2c1.Init.DualAddressMode = I2C_DUALADDRESS_DISABLE;
  hi2c1.Init.OwnAddress2 = 0;
  hi2c1.Init.GeneralCallMode = I2C_GENERALCALL_DISABLE;
  hi2c1.Init.NoStretchMode = I2C_NOSTRETCH_DISABLE;
  if (HAL_I2C_Init(&hi2c1) != HAL_OK)
  {
    Error_Handler();
  }

}

static void MX_I2S3_Init(void)
{

  hi2s3.Instance = SPI3;
  hi2s3.Init.Mode = I2S_MODE_MASTER_TX;
  hi2s3.Init.Standard = I2S_STANDARD_PHILIPS;
  hi2s3.Init.DataFormat = I2S_DATAFORMAT_16B;
  hi2s3.Init.MCLKOutput = I2S_MCLKOUTPUT_ENABLE;
  hi2s3.Init.AudioFreq = I2S_AUDIOFREQ_96K;
  hi2s3.Init.CPOL = I2S_CPOL_LOW;
  hi2s3.Init.ClockSource = I2S_CLOCK_PLL;
  hi2s3.Init.FullDuplexMode = I2S_FULLDUPLEXMODE_DISABLE;
  if (HAL_I2S_Init(&hi2s3) != HAL_OK)
  {
    Error_Handler();
  }

}

static void MX_SPI1_Init(void)
{

  /* SPI1 parameter configuration*/
  hspi1.Instance = SPI1;
  hspi1.Init.Mode = SPI_MODE_MASTER;
  hspi1.Init.Direction = SPI_DIRECTION_2LINES;
  hspi1.Init.DataSize = SPI_DATASIZE_8BIT;
  hspi1.Init.CLKPolarity = SPI_POLARITY_LOW;
  hspi1.Init.CLKPhase = SPI_PHASE_1EDGE;
  hspi1.Init.NSS = SPI_NSS_SOFT;
  hspi1.Init.BaudRatePrescaler = SPI_BAUDRATEPRESCALER_2;
  hspi1.Init.FirstBit = SPI_FIRSTBIT_MSB;
  hspi1.Init.TIMode = SPI_TIMODE_DISABLE;
  hspi1.Init.CRCCalculation = SPI_CRCCALCULATION_DISABLE;
  hspi1.Init.CRCPolynomial = 10;
  if (HAL_SPI_Init(&hspi1) != HAL_OK)
  {
    Error_Handler();
  }

}

static void MX_TIM1_Init(void)
{

  TIM_ClockConfigTypeDef sClockSourceConfig = {0};
  TIM_MasterConfigTypeDef sMasterConfig = {0};
  TIM_OC_InitTypeDef sConfigOC = {0};
  TIM_BreakDeadTimeConfigTypeDef sBreakDeadTimeConfig = {0};

  htim1.Instance = TIM1;
  htim1.Init.Prescaler = 0;
  htim1.Init.CounterMode = TIM_COUNTERMODE_CENTERALIGNED1;
  htim1.Init.Period = 4199;
  htim1.Init.ClockDivision = TIM_CLOCKDIVISION_DIV1;
  htim1.Init.RepetitionCounter = 0;
  htim1.Init.AutoReloadPreload = TIM_AUTORELOAD_PRELOAD_ENABLE;
  if (HAL_TIM_Base_Init(&htim1) != HAL_OK)
  {
    Error_Handler();
  }
  sClockSourceConfig.ClockSource = TIM_CLOCKSOURCE_INTERNAL;
  if (HAL_TIM_ConfigClockSource(&htim1, &sClockSourceConfig) != HAL_OK)
  {
    Error_Handler();
  }
  if (HAL_TIM_PWM_Init(&htim1) != HAL_OK)
  {
    Error_Handler();
  }
  sMasterConfig.MasterOutputTrigger = TIM_TRGO_UPDATE;
  sMasterConfig.MasterSlaveMode = TIM_MASTERSLAVEMODE_DISABLE;
  if (HAL_TIMEx_MasterConfigSynchronization(&htim1, &sMasterConfig) != HAL_OK)
  {
    Error_Handler();
  }
  sConfigOC.OCMode = TIM_OCMODE_PWM1;
  sConfigOC.Pulse = 0;
  sConfigOC.OCPolarity = TIM_OCPOLARITY_HIGH;
  sConfigOC.OCNPolarity = TIM_OCNPOLARITY_HIGH;
  sConfigOC.OCFastMode = TIM_OCFAST_DISABLE;
  sConfigOC.OCIdleState = TIM_OCIDLESTATE_RESET;
  sConfigOC.OCNIdleState = TIM_OCNIDLESTATE_RESET;
  if (HAL_TIM_PWM_ConfigChannel(&htim1, &sConfigOC, TIM_CHANNEL_1) != HAL_OK)
  {
    Error_Handler();
  }
  if (HAL_TIM_PWM_ConfigChannel(&htim1, &sConfigOC, TIM_CHANNEL_2) != HAL_OK)
  {
    Error_Handler();
  }
  if (HAL_TIM_PWM_ConfigChannel(&htim1, &sConfigOC, TIM_CHANNEL_3) != HAL_OK)
  {
    Error_Handler();
  }
  if (HAL_TIM_PWM_ConfigChannel(&htim1, &sConfigOC, TIM_CHANNEL_4) != HAL_OK)
  {
    Error_Handler();
  }
  sBreakDeadTimeConfig.OffStateRunMode = TIM_OSSR_DISABLE;
  sBreakDeadTimeConfig.OffStateIDLEMode = TIM_OSSI_DISABLE;
  sBreakDeadTimeConfig.LockLevel = TIM_LOCKLEVEL_OFF;
  sBreakDeadTimeConfig.DeadTime = 0;
  sBreakDeadTimeConfig.BreakState = TIM_BREAK_DISABLE;
  sBreakDeadTimeConfig.BreakPolarity = TIM_BREAKPOLARITY_HIGH;
  sBreakDeadTimeConfig.AutomaticOutput = TIM_AUTOMATICOUTPUT_DISABLE;
  if (HAL_TIMEx_ConfigBreakDeadTime(&htim1, &sBreakDeadTimeConfig) != HAL_OK)
  {
    Error_Handler();
  }
  HAL_TIM_MspPostInit(&htim1);

}

static void MX_TIM2_Init(void)
{

  TIM_ClockConfigTypeDef sClockSourceConfig = {0};
  TIM_MasterConfigTypeDef sMasterConfig = {0};

  htim2.Instance = TIM2;
  htim2.Init.Prescaler = 0;
  htim2.Init.CounterMode = TIM_COUNTERMODE_UP;
  htim2.Init.Period = 2099;
  htim2.Init.ClockDivision = TIM_CLOCKDIVISION_DIV1;
  htim2.Init.AutoReloadPreload = TIM_AUTORELOAD_PRELOAD_DISABLE;
  if (HAL_TIM_Base_Init(&htim2) != HAL_OK)
  {
    Error_Handler();
  }
  sClockSourceConfig.ClockSource = TIM_CLOCKSOURCE_INTERNAL;
  if (HAL_TIM_ConfigClockSource(&htim2, &sClockSourceConfig) != HAL_OK)
  {
    Error_Handler();
  }
  sMasterConfig.MasterOutputTrigger = TIM_TRGO_UPDATE;
  sMasterConfig.MasterSlaveMode = TIM_MASTERSLAVEMODE_DISABLE;
  if (HAL_TIMEx_MasterConfigSynchronization(&htim2, &sMasterConfig) != HAL_OK)
  {
    Error_Handler();
  }

}

static void MX_DMA_Init(void)
{

  /* DMA controller clock enable */
  __HAL_RCC_DMA2_CLK_ENABLE();

  /* DMA interrupt init */
  /* DMA2_Stream0_IRQn interrupt configuration */
  HAL_NVIC_SetPriority(DMA2_Stream0_IRQn, 0, 0);
  HAL_NVIC_EnableIRQ(DMA2_Stream0_IRQn);

}

static void MX_GPIO_Init(void)
{
  GPIO_InitTypeDef GPIO_InitStruct = {0};

  /* GPIO Ports Clock Enable */
  __HAL_RCC_GPIOE_CLK_ENABLE();
  __HAL_RCC_GPIOC_CLK_ENABLE();
  __HAL_RCC_GPIOH_CLK_ENABLE();
  __HAL_RCC_GPIOA_CLK_ENABLE();
  __HAL_RCC_GPIOB_CLK_ENABLE();
  __HAL_RCC_GPIOD_CLK_ENABLE();

  /*Configure GPIO pin Output Level */
  HAL_GPIO_WritePin(GPIOE, EN_FR_Pin|CS_I2C_SPI_Pin|EN_RL_Pin|EN_RR_Pin
                          |EN_FL_Pin, GPIO_PIN_RESET);

  /*Configure GPIO pin Output Level */
  HAL_GPIO_WritePin(MUX_RST_GPIO_Port, MUX_RST_Pin, GPIO_PIN_SET);

  /*Configure GPIO pin Output Level */
  HAL_GPIO_WritePin(OTG_FS_PowerSwitchOn_GPIO_Port, OTG_FS_PowerSwitchOn_Pin, GPIO_PIN_SET);

  /*Configure GPIO pin Output Level */
  HAL_GPIO_WritePin(GPIOD, LD4_Pin|LD3_Pin|LD5_Pin|LD6_Pin
                          |Audio_RST_Pin, GPIO_PIN_RESET);

  /*Configure GPIO pins : EN_FR_Pin EN_RL_Pin EN_RR_Pin EN_FL_Pin */
  GPIO_InitStruct.Pin = EN_FR_Pin|EN_RL_Pin|EN_RR_Pin|EN_FL_Pin;
  GPIO_InitStruct.Mode = GPIO_MODE_OUTPUT_PP;
  GPIO_InitStruct.Pull = GPIO_PULLDOWN;
  GPIO_InitStruct.Speed = GPIO_SPEED_FREQ_LOW;
  HAL_GPIO_Init(GPIOE, &GPIO_InitStruct);

  /*Configure GPIO pins : CS_I2C_SPI_Pin MUX_RST_Pin */
  GPIO_InitStruct.Pin = CS_I2C_SPI_Pin|MUX_RST_Pin;
  GPIO_InitStruct.Mode = GPIO_MODE_OUTPUT_PP;
  GPIO_InitStruct.Pull = GPIO_NOPULL;
  GPIO_InitStruct.Speed = GPIO_SPEED_FREQ_LOW;
  HAL_GPIO_Init(GPIOE, &GPIO_InitStruct);

  /*Configure GPIO pin : OTG_FS_PowerSwitchOn_Pin */
  GPIO_InitStruct.Pin = OTG_FS_PowerSwitchOn_Pin;
  GPIO_InitStruct.Mode = GPIO_MODE_OUTPUT_PP;
  GPIO_InitStruct.Pull = GPIO_NOPULL;
  GPIO_InitStruct.Speed = GPIO_SPEED_FREQ_LOW;
  HAL_GPIO_Init(OTG_FS_PowerSwitchOn_GPIO_Port, &GPIO_InitStruct);

  /*Configure GPIO pin : PDM_OUT_Pin */
  GPIO_InitStruct.Pin = PDM_OUT_Pin;
  GPIO_InitStruct.Mode = GPIO_MODE_AF_PP;
  GPIO_InitStruct.Pull = GPIO_NOPULL;
  GPIO_InitStruct.Speed = GPIO_SPEED_FREQ_LOW;
  GPIO_InitStruct.Alternate = GPIO_AF5_SPI2;
  HAL_GPIO_Init(PDM_OUT_GPIO_Port, &GPIO_InitStruct);

  /*Configure GPIO pin : B1_Pin */
  GPIO_InitStruct.Pin = B1_Pin;
  GPIO_InitStruct.Mode = GPIO_MODE_EVT_RISING;
  GPIO_InitStruct.Pull = GPIO_NOPULL;
  HAL_GPIO_Init(B1_GPIO_Port, &GPIO_InitStruct);

  /*Configure GPIO pin : BOOT1_Pin */
  GPIO_InitStruct.Pin = BOOT1_Pin;
  GPIO_InitStruct.Mode = GPIO_MODE_INPUT;
  GPIO_InitStruct.Pull = GPIO_NOPULL;
  HAL_GPIO_Init(BOOT1_GPIO_Port, &GPIO_InitStruct);

  /*Configure GPIO pin : CLK_IN_Pin */
  GPIO_InitStruct.Pin = CLK_IN_Pin;
  GPIO_InitStruct.Mode = GPIO_MODE_AF_PP;
  GPIO_InitStruct.Pull = GPIO_NOPULL;
  GPIO_InitStruct.Speed = GPIO_SPEED_FREQ_LOW;
  GPIO_InitStruct.Alternate = GPIO_AF5_SPI2;
  HAL_GPIO_Init(CLK_IN_GPIO_Port, &GPIO_InitStruct);

  /*Configure GPIO pins : LD4_Pin LD3_Pin LD5_Pin LD6_Pin
                           Audio_RST_Pin */
  GPIO_InitStruct.Pin = LD4_Pin|LD3_Pin|LD5_Pin|LD6_Pin
                          |Audio_RST_Pin;
  GPIO_InitStruct.Mode = GPIO_MODE_OUTPUT_PP;
  GPIO_InitStruct.Pull = GPIO_NOPULL;
  GPIO_InitStruct.Speed = GPIO_SPEED_FREQ_LOW;
  HAL_GPIO_Init(GPIOD, &GPIO_InitStruct);

  /*Configure GPIO pin : OTG_FS_OverCurrent_Pin */
  GPIO_InitStruct.Pin = OTG_FS_OverCurrent_Pin;
  GPIO_InitStruct.Mode = GPIO_MODE_INPUT;
  GPIO_InitStruct.Pull = GPIO_NOPULL;
  HAL_GPIO_Init(OTG_FS_OverCurrent_GPIO_Port, &GPIO_InitStruct);

  /*Configure GPIO pin : MEMS_INT2_Pin */
  GPIO_InitStruct.Pin = MEMS_INT2_Pin;
  GPIO_InitStruct.Mode = GPIO_MODE_EVT_RISING;
  GPIO_InitStruct.Pull = GPIO_NOPULL;
  HAL_GPIO_Init(MEMS_INT2_GPIO_Port, &GPIO_InitStruct);

}

void Error_Handler(void)
{
  __disable_irq();
  while (1)
  {
  }
}
